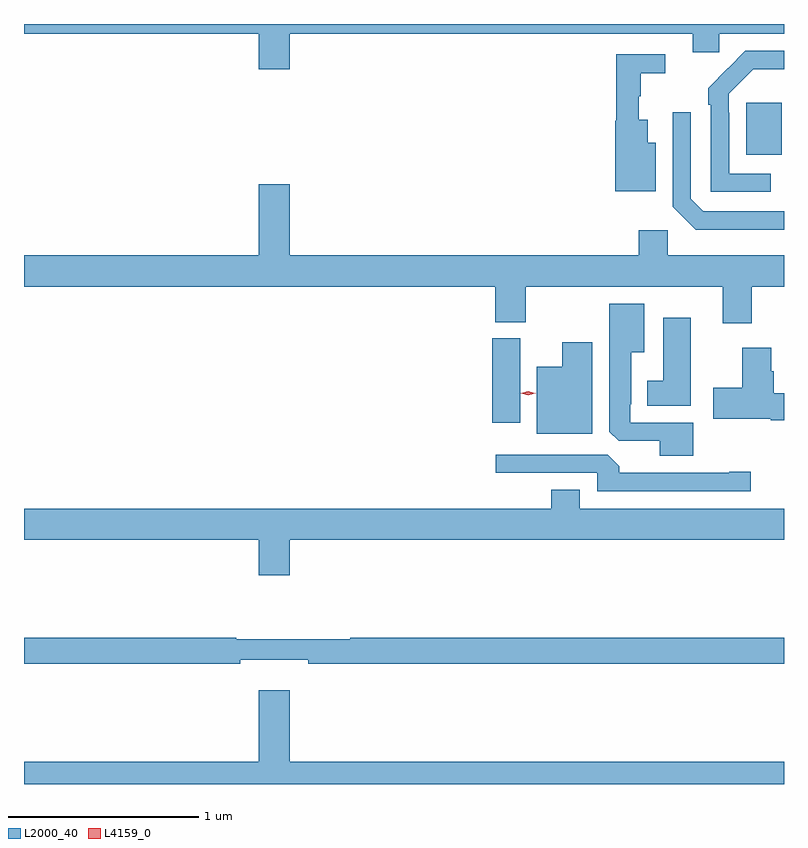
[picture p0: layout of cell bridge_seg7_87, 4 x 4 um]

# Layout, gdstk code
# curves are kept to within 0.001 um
import gdstk
lib = gdstk.Library(unit=1e-6, precision=1e-09)
def R(c, l, rs):  # rectangles x0, y0, x1, y1
    for r in rs: c.add(gdstk.rectangle(r[:2], r[2:], *l))
def P(c, l, *ps):  # polygons
    for p in ps: c.add(gdstk.Polygon(p, *l))
L2000_40 = (2000, 40)
L4159_0 = (4159, 0)

bridge_seg7_87 = lib.new_cell('bridge_seg7_87')
R(bridge_seg7_87, L2000_40, [(1053.35,1001.232,1053.496,1001.676), (1054.685,1002.641,1054.873,1002.916)])
P(bridge_seg7_87, L2000_40, [(1052.284,1003.28),(1054.406,1003.28),(1054.406,1003.182),(1054.545,1003.182),(1054.545,1003.28),(1054.885,1003.28),(1054.885,1003.33),(1050.885,1003.33),(1050.885,1003.28),(1052.12,1003.28),(1052.12,1003.092),(1052.284,1003.092)],
  [(1054.816,1002.543),(1054.596,1002.543),(1054.596,1002.863),(1054.593,1002.863),(1054.593,1002.963),(1054.722,1003.092),(1054.885,1003.092),(1054.885,1003.188),(1054.682,1003.188),(1054.485,1002.993),(1054.485,1002.905),(1054.5,1002.905),(1054.5,1002.447),(1054.816,1002.447)],
  [(1054.21,1002.706),(1054.168,1002.706),(1054.168,1002.826),(1054.121,1002.826),(1054.121,1002.95),(1054.132,1002.95),(1054.132,1003.072),(1054.261,1003.072),(1054.261,1003.17),(1054.003,1003.17),(1054.003,1002.822),(1053.998,1002.822),(1053.998,1002.449),(1054.21,1002.449)],
  [(1054.885,1002.345),(1054.461,1002.345),(1054.395,1002.411),(1054.395,1002.865),(1054.299,1002.865),(1054.299,1002.369),(1054.42,1002.248),(1054.885,1002.248)],
  [(1054.715,1001.948),(1054.885,1001.948),(1054.885,1002.112),(1054.272,1002.112),(1054.272,1002.244),(1054.121,1002.244),(1054.121,1002.112),(1052.284,1002.112),(1052.284,1002.487),(1052.12,1002.487),(1052.12,1002.112),(1050.885,1002.112),(1050.885,1001.948),(1053.365,1001.948),(1053.365,1001.761),(1053.525,1001.761),(1053.525,1001.948),(1054.562,1001.948),(1054.562,1001.754),(1054.715,1001.754)],
  [(1054.408,1001.232),(1054.077,1001.232),(1054.077,1001.329),(1054.081,1001.329),(1054.081,1001.603),(1054.15,1001.603),(1054.15,1001.857),(1053.965,1001.857),(1053.965,1001.185),(1054.014,1001.136),(1054.232,1001.136),(1054.232,1001.057),(1054.408,1001.057)],
  [(1054.393,1001.785),(1054.25,1001.785),(1054.25,1001.452),(1054.166,1001.452),(1054.166,1001.321),(1054.393,1001.321)],
  [(1053.877,1001.656),(1053.719,1001.656),(1053.719,1001.527),(1053.584,1001.527),(1053.584,1001.174),(1053.877,1001.174)],
  [(1054.885,1001.387),(1054.832,1001.387),(1054.832,1001.503),(1054.819,1001.503),(1054.819,1001.626),(1054.664,1001.626),(1054.664,1001.415),(1054.512,1001.415),(1054.512,1001.252),(1054.815,1001.252),(1054.815,1001.245),(1054.885,1001.245)],
  [(1054.711,1000.973),(1054.598,1000.973),(1054.598,1000.968),(1054.019,1000.968),(1054.019,1001.002),(1053.957,1001.064),(1053.369,1001.064),(1053.369,1000.968),(1053.903,1000.968),(1053.903,1000.872),(1054.711,1000.872)],
  [(1052.284,1000.616),(1054.885,1000.616),(1054.885,1000.78),(1053.811,1000.78),(1053.811,1000.879),(1053.659,1000.879),(1053.659,1000.78),(1050.885,1000.78),(1050.885,1000.616),(1052.12,1000.616),(1052.12,1000.428),(1052.284,1000.428)],
  [(1052.024,999.983),(1052.38,999.983),(1052.38,999.964),(1054.885,999.964),(1054.885,1000.1),(1052.603,1000.1),(1052.603,1000.093),(1052.003,1000.093),(1052.003,1000.1),(1050.885,1000.1),(1050.885,999.964),(1052.024,999.964)],
  [(1054.885,999.448),(1052.284,999.448),(1052.284,999.823),(1052.12,999.823),(1052.12,999.448),(1050.885,999.448),(1050.885,999.33),(1054.885,999.33)])
P(bridge_seg7_87, L4159_0, [(1053.539,1001.376),(1053.5,1001.386),(1053.5,1001.386),(1053.5,1001.387),(1053.539,1001.396),(1053.577,1001.387),(1053.578,1001.386),(1053.577,1001.386)])

lib.write_gds('bridge_seg7_87.gds')
